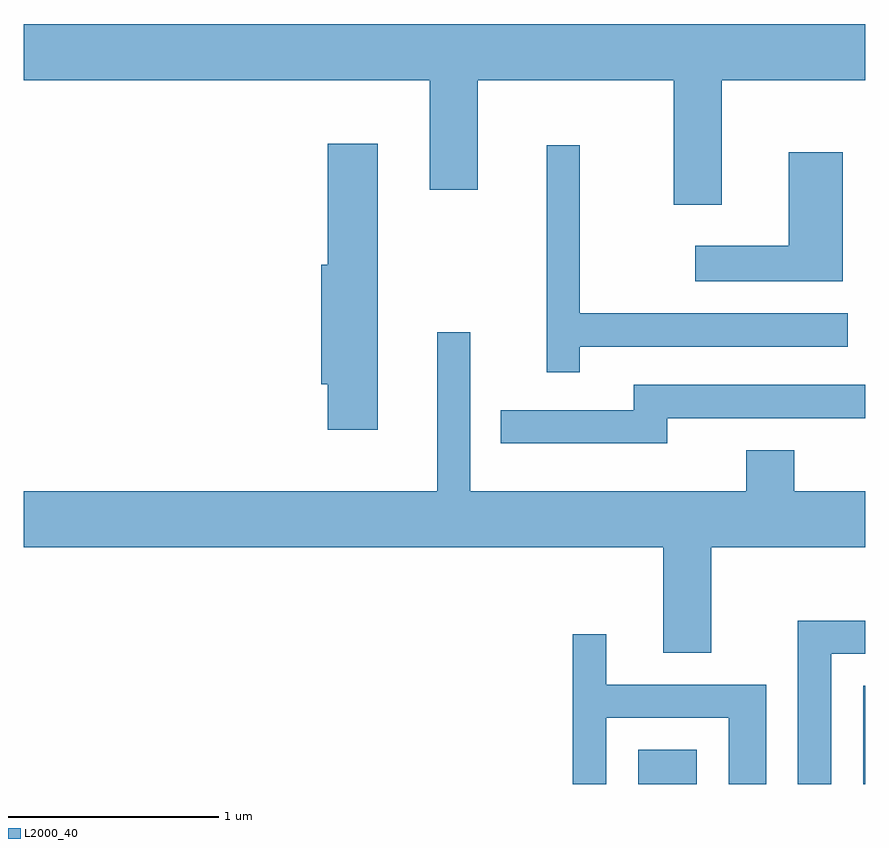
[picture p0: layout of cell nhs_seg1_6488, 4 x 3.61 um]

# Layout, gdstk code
import gdstk
lib = gdstk.Library(unit=1e-6, precision=1e-09)
def R(c, l, rs):  # rectangles x0, y0, x1, y1
    for r in rs: c.add(gdstk.rectangle(r[:2], r[2:], *l))
def P(c, l, *ps):  # polygons
    for p in ps: c.add(gdstk.Polygon(p, *l))
L2000_40 = (2000, 40)

nhs_seg1_6488 = lib.new_cell('nhs_seg1_6488')
R(nhs_seg1_6488, L2000_40, [(382.531,971.712,382.809,971.874), (383.601,971.712,383.611,972.179)])
P(nhs_seg1_6488, L2000_40, [(382.929,975.056),(383.611,975.056),(383.611,975.324),(379.611,975.324),(379.611,975.056),(381.541,975.056),(381.541,974.536),(381.769,974.536),(381.769,975.056),(382.701,975.056),(382.701,974.466),(382.929,974.466)],
  [(381.294,974.754),(381.056,974.754),(381.056,974.179),(381.026,974.179),(381.026,973.611),(381.056,973.611),(381.056,973.396),(381.294,973.396)],
  [(382.254,973.791),(383.528,973.791),(383.528,973.949),(382.254,973.949),(382.254,974.748),(382.096,974.748),(382.096,973.668),(382.254,973.668)],
  [(383.504,974.714),(383.246,974.714),(383.246,974.269),(382.803,974.269),(382.803,974.101),(383.504,974.101)],
  [(382.879,972.836),(383.611,972.836),(383.611,973.104),(383.274,973.104),(383.274,973.299),(383.046,973.299),(383.046,973.104),(381.734,973.104),(381.734,973.858),(381.576,973.858),(381.576,973.104),(379.611,973.104),(379.611,972.836),(382.651,972.836),(382.651,972.336),(382.879,972.336)],
  [(382.669,973.451),(383.611,973.451),(383.611,973.609),(382.511,973.609),(382.511,973.489),(381.878,973.489),(381.878,973.331),(382.669,973.331)],
  [(383.449,972.331),(383.611,972.331),(383.611,972.489),(383.291,972.489),(383.291,971.712),(383.449,971.712)],
  [(382.379,972.026),(382.961,972.026),(382.961,971.712),(383.139,971.712),(383.139,972.184),(382.379,972.184),(382.379,972.423),(382.221,972.423),(382.221,971.712),(382.379,971.712)])

lib.write_gds('nhs_seg1_6488.gds')
